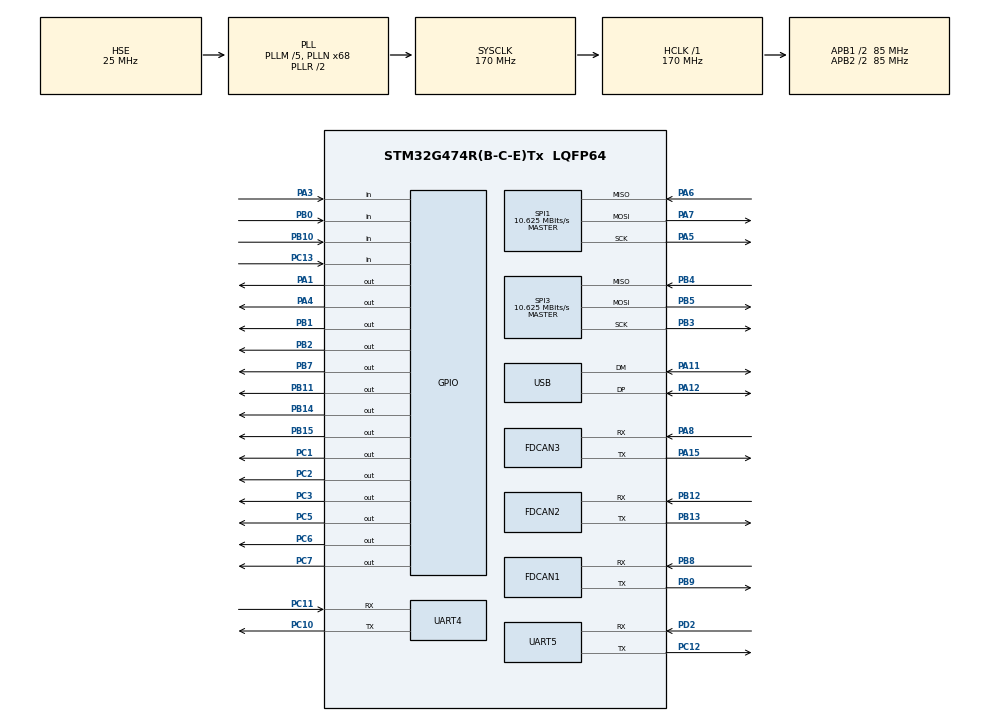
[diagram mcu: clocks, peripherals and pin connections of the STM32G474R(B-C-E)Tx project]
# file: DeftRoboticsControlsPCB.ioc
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FDCAN1.CalculateBaudRateNominal=999999
FDCAN1.CalculateTimeBitNominal=1000
FDCAN1.CalculateTimeQuantumNominal=58.82352941176471
FDCAN1.NominalPrescaler=5
FDCAN1.NominalTimeSeg1=14
FDCAN1.NominalTimeSeg2=2
FDCAN2.CalculateBaudRateNominal=999999
FDCAN2.CalculateTimeBitNominal=1000
FDCAN2.CalculateTimeQuantumNominal=58.82352941176471
FDCAN2.NominalPrescaler=5
FDCAN2.NominalTimeSeg1=14
FDCAN2.NominalTimeSeg2=2
FDCAN3.CalculateBaudRateNominal=999999
FDCAN3.CalculateTimeBitNominal=1000
FDCAN3.CalculateTimeQuantumNominal=58.82352941176471
FDCAN3.NominalPrescaler=5
FDCAN3.NominalTimeSeg1=14
FDCAN3.NominalTimeSeg2=2
FREERTOS.Tasks01=defaultTask,32,1024,StartDefaultTask,Default,NULL,Dynamic,NULL,NULL
FREERTOS.Tasks02=PlantTask,32,1024,PlantTask,Default,NULL,Dynamic,NULL,NULL
FREERTOS.Tasks03=PeripheralTask,32,2048,PeripheralTask,Default,NULL,Dynamic,NULL,NULL
FREERTOS.configTOTAL_HEAP_SIZE=49152
FREERTOS.configUSE_NEWLIB_REENTRANT=0
Mcu.Family=STM32G4
Mcu.Name=STM32G474R(B-C-E)Tx
Mcu.Package=LQFP64
NVIC.PriorityGroup=NVIC_PRIORITYGROUP_4
NVIC.TIM6_DAC_IRQn=true\:6\:0\:false\:false\:true\:true\:true\:true\:true
NVIC.TIM7_DAC_IRQn=true\:15\:0\:false\:false\:true\:false\:false\:true\:true
NVIC.TimeBase=TIM7_DAC_IRQn
NVIC.TimeBaseIP=TIM7
NVIC.SPI3_IRQn=true\:6\:0\:false\:false\:true\:true\:true\:true\:true
NVIC.UART4_IRQn=true\:6\:0\:false\:false\:true\:true\:true\:true\:true
NVIC.USB_LP_IRQn=true\:0\:0\:false\:false\:true\:true\:false\:true\:true
PA1.Signal=GPIO_Output
PA11.Mode=Device
PA11.Signal=USB_DM
PA12.Mode=Device
PA12.Signal=USB_DP
PA13.Mode=Serial_Wire
PA13.Signal=SYS_JTMS-SWDIO
PA14.Mode=Serial_Wire
PA14.Signal=SYS_JTCK-SWCLK
PA15.Mode=FDCAN_Activate
PA15.Signal=FDCAN3_TX
PA3.Signal=GPIO_Input
PA4.Signal=GPIO_Output
PA5.Mode=Full_Duplex_Master
PA5.Signal=SPI1_SCK
PA6.Mode=Full_Duplex_Master
PA6.Signal=SPI1_MISO
PA7.Mode=Full_Duplex_Master
PA7.Signal=SPI1_MOSI
PA8.Mode=FDCAN_Activate
PA8.Signal=FDCAN3_RX
PB0.Signal=GPIO_Input
PB1.Signal=GPIO_Output
PB10.Signal=GPIO_Input
PB11.Signal=GPIO_Output
PB12.Mode=FDCAN_Activate
PB12.Signal=FDCAN2_RX
PB13.Mode=FDCAN_Activate
PB13.Signal=FDCAN2_TX
PB14.Signal=GPIO_Output
PB15.Signal=GPIO_Output
PB2.Signal=GPIO_Output
PB3.Mode=Full_Duplex_Master
PB3.Signal=SPI3_SCK
PB4.Mode=Full_Duplex_Master
PB4.Signal=SPI3_MISO
PB5.Mode=Full_Duplex_Master
PB5.Signal=SPI3_MOSI
PB7.Signal=GPIO_Output
PB8-BOOT0.Mode=FDCAN_Activate
PB8-BOOT0.Signal=FDCAN1_RX
PB9.Mode=FDCAN_Activate
PB9.Signal=FDCAN1_TX
PC1.Signal=GPIO_Output
PC10.Mode=Asynchronous
PC10.Signal=UART4_TX
PC11.Mode=Asynchronous
PC11.Signal=UART4_RX
PC12.Mode=Asynchronous
PC12.Signal=UART5_TX
PC13.Signal=GPIO_Input
PC2.Signal=GPIO_Output
PC3.Signal=GPIO_Output
PC5.Signal=GPIO_Output
PC6.Signal=GPIO_Output
PC7.Signal=GPIO_Output
PD2.Mode=Asynchronous
PD2.Signal=UART5_RX
PF0-OSC_IN.Mode=HSE-External-Oscillator
PF0-OSC_IN.Signal=RCC_OSC_IN
PF1-OSC_OUT.Mode=HSE-External-Oscillator
PF1-OSC_OUT.Signal=RCC_OSC_OUT
ProjectManager.HeapSize=0x200
ProjectManager.StackSize=0x1000
ProjectManager.TargetToolchain=STM32CubeIDE
RCC.ADC12Freq_Value=170000000
RCC.ADC345Freq_Value=170000000
RCC.AHBFreq_Value=170000000
RCC.APB1CLKDivider=RCC_HCLK_DIV2
RCC.APB1Freq_Value=85000000
RCC.APB1TimFreq_Value=170000000
RCC.APB2CLKDivider=RCC_HCLK_DIV2
RCC.APB2Freq_Value=85000000
RCC.APB2TimFreq_Value=170000000
RCC.CK48CLockSelection=RCC_USBCLKSOURCE_HSI48
RCC.CortexFreq_Value=170000000
RCC.EXTERNAL_CLOCK_VALUE=12288000
RCC.HCLKFreq_Value=170000000
RCC.HSE_VALUE=25000000
RCC.HSI48_VALUE=48000000
RCC.HSI_VALUE=16000000
RCC.LSE_VALUE=32768
RCC.PLLM=RCC_PLLM_DIV5
RCC.PLLN=68
RCC.PLLQ=RCC_PLLQ_DIV4
RCC.PLLSourceVirtual=RCC_PLLSOURCE_HSE
RCC.SYSCLKFreq_VALUE=170000000
RCC.SYSCLKSource=RCC_SYSCLKSOURCE_PLLCLK
RCC.USBFreq_Value=48000000
RCC.VCOOutputFreq_Value=340000000
SPI1.BaudRatePrescaler=SPI_BAUDRATEPRESCALER_8
SPI1.CalculateBaudRate=10.625 MBits/s
SPI1.DataSize=SPI_DATASIZE_8BIT
SPI1.Direction=SPI_DIRECTION_2LINES
SPI1.Mode=SPI_MODE_MASTER
SPI1.VirtualType=VM_MASTER
SPI3.BaudRatePrescaler=SPI_BAUDRATEPRESCALER_8
SPI3.CalculateBaudRate=10.625 MBits/s
SPI3.DataSize=SPI_DATASIZE_8BIT
SPI3.Direction=SPI_DIRECTION_2LINES
SPI3.Mode=SPI_MODE_MASTER
SPI3.VirtualType=VM_MASTER
TIM6.PeriodNoDither=1999
TIM6.Prescaler=169
USB_DEVICE.CLASS_NAME_FS=CDC
USB_DEVICE.VirtualMode=Cdc
USB_DEVICE.VirtualModeFS=Cdc_FS
VP_FREERTOS_VS_CMSIS_V2.Mode=CMSIS_V2
VP_SYS_VS_DBSignals.Mode=DisableDeadBatterySignals
VP_SYS_VS_tim7.Mode=TIM7
VP_TIM6_VS_ClockSourceINT.Mode=Enable_Timer
VP_USB_DEVICE_VS_USB_DEVICE_CDC_FS.Mode=CDC_FS
board=custom

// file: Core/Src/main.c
/* USER CODE BEGIN Header */
/**
  ******************************************************************************
  * @file           : main.c
  * @brief          : Main program body
  ******************************************************************************
  * @attention
  *
  * Copyright (c) 2026 STMicroelectronics.
  * All rights reserved.
  *
  * This software is licensed under terms that can be found in the LICENSE file
  * in the root directory of this software component.
  * If no LICENSE file comes with this software, it is provided AS-IS.
  *
  ******************************************************************************
  */
/* USER CODE END Header */
#include "main.h"
#include "cmsis_os.h"
#include "fdcan.h"
#include "spi.h"
#include "tim.h"
#include "usart.h"
#include "usb_device.h"
#include "gpio.h"

/* USER CODE BEGIN Includes */
#include "app.h"
#include "plant/control_loop.h"
#include "usb_device.h"
#include "host/soft_dfu.h"
/* USER CODE END Includes */

/* USER CODE BEGIN PD */
#define CPU_ACTIVITY_PORT            GPIOC
#define CPU_ACTIVITY_PIN             GPIO_PIN_2
#define CPU_ACTIVITY_DELAY_LOOPS     4000000u   /* Error_Handler blink period */
/* Bring-up milestone on PC1 (unused LED): HIGH = past USB init, LOW = past app_init. */
#define BRINGUP_DIAG_PORT            GPIOC
#define BRINGUP_DIAG_PIN             GPIO_PIN_1
/* USER CODE END PD */

void SystemClock_Config(void);
void MX_FREERTOS_Init(void);
/* USER CODE BEGIN PFP */
static void cpu_activity_delay(uint32_t loops);
/* USER CODE END PFP */

/* USER CODE BEGIN 0 */

static void cpu_activity_delay(uint32_t loops)
{
	for (volatile uint32_t d = 0; d < loops; d++) {
	}
}

/* USER CODE END 0 */

int main(void)
{

  /* USER CODE BEGIN 1 */

  /* Checks a RAM signature left by a prior soft_dfu_on_command() call and,
   * if present, jumps into the ROM bootloader instead of continuing boot.
   * Must run before HAL_Init()/SystemClock_Config() -- see soft_dfu.h. */
  soft_dfu_check_and_jump();

  /* AN3156: ROM DFU Leave jumps into the app without a system reset, so the
   * USB FS core / IRQs can still be live from the bootloader. Tear that down
   * before HAL/USB re-init or CDC may never re-enumerate. */
  __HAL_RCC_USB_CLK_ENABLE();
  __HAL_RCC_USB_FORCE_RESET();
  __HAL_RCC_USB_RELEASE_RESET();
  NVIC_DisableIRQ(USB_HP_IRQn);
  NVIC_DisableIRQ(USB_LP_IRQn);
  NVIC_DisableIRQ(USBWakeUp_IRQn);
  NVIC_ClearPendingIRQ(USB_HP_IRQn);
  NVIC_ClearPendingIRQ(USB_LP_IRQn);
  NVIC_ClearPendingIRQ(USBWakeUp_IRQn);

  /* USER CODE END 1 */

  /* MCU Configuration--------------------------------------------------------*/

  /* Reset of all peripherals, Initializes the Flash interface and the Systick. */
  HAL_Init();

  /* Configure the system clock */
  SystemClock_Config();

  /* Initialize all configured peripherals */
  MX_GPIO_Init();
  MX_FDCAN1_Init();
  MX_FDCAN2_Init();
  MX_FDCAN3_Init();
  MX_SPI1_Init();
  MX_UART4_Init();
  MX_UART5_Init();
  MX_SPI3_Init();
  MX_TIM6_Init();
  /* USER CODE BEGIN 2 */
  /* USB before scheduler — Cube puts MX_USB in defaultTask; that raced
   * Host vs Plant at the same priority and left CDC up but diag dead. */
  MX_USB_Device_Init();
  app_init();
  control_loop_start();
  /* USER CODE END 2 */

  /* Init scheduler */
  osKernelInitialize();  /* Call init function for freertos objects (in cmsis_os2.c) */
  MX_FREERTOS_Init();

  /* Start scheduler */
  osKernelStart();

  /* We should never get here as control is now taken by the scheduler */

  /* Infinite loop */
  while (1)
  {

    /* USER CODE BEGIN 3 */
    app_run();
  }
  /* USER CODE END 3 */
}

void SystemClock_Config(void)
{
  RCC_OscInitTypeDef RCC_OscInitStruct = {0};
  RCC_ClkInitTypeDef RCC_ClkInitStruct = {0};

  /** Configure the main internal regulator output voltage
  */
  HAL_PWREx_ControlVoltageScaling(PWR_REGULATOR_VOLTAGE_SCALE1_BOOST);

  /** Initializes the RCC Oscillators according to the specified parameters
  * in the RCC_OscInitTypeDef structure.
  */
  RCC_OscInitStruct.OscillatorType = RCC_OSCILLATORTYPE_HSI48|RCC_OSCILLATORTYPE_HSE;
  RCC_OscInitStruct.HSEState = RCC_HSE_ON;
  RCC_OscInitStruct.HSI48State = RCC_HSI48_ON;
  RCC_OscInitStruct.PLL.PLLState = RCC_PLL_ON;
  RCC_OscInitStruct.PLL.PLLSource = RCC_PLLSOURCE_HSE;
  RCC_OscInitStruct.PLL.PLLM = RCC_PLLM_DIV5;
  RCC_OscInitStruct.PLL.PLLN = 68;
  RCC_OscInitStruct.PLL.PLLP = RCC_PLLP_DIV2;
  RCC_OscInitStruct.PLL.PLLQ = RCC_PLLQ_DIV4;
  RCC_OscInitStruct.PLL.PLLR = RCC_PLLR_DIV2;
  if (HAL_RCC_OscConfig(&RCC_OscInitStruct) != HAL_OK)
  {
    Error_Handler();
  }

  /** Initializes the CPU, AHB and APB buses clocks
  */
  RCC_ClkInitStruct.ClockType = RCC_CLOCKTYPE_HCLK|RCC_CLOCKTYPE_SYSCLK
                              |RCC_CLOCKTYPE_PCLK1|RCC_CLOCKTYPE_PCLK2;
  RCC_ClkInitStruct.SYSCLKSource = RCC_SYSCLKSOURCE_PLLCLK;
  RCC_ClkInitStruct.AHBCLKDivider = RCC_SYSCLK_DIV1;
  RCC_ClkInitStruct.APB1CLKDivider = RCC_HCLK_DIV2;
  RCC_ClkInitStruct.APB2CLKDivider = RCC_HCLK_DIV2;

  if (HAL_RCC_ClockConfig(&RCC_ClkInitStruct, FLASH_LATENCY_4) != HAL_OK)
  {
    Error_Handler();
  }
}

void HAL_TIM_PeriodElapsedCallback(TIM_HandleTypeDef *htim)
{
  /* USER CODE BEGIN Callback 0 */
  if (htim->Instance == TIM6)
    control_loop_tick();
  /* USER CODE END Callback 0 */
  if (htim->Instance == TIM7)
  {
    HAL_IncTick();
  }
}

void Error_Handler(void)
{
  /* USER CODE BEGIN Error_Handler_Debug */
  __disable_irq();
  while (1)
  {
    HAL_GPIO_TogglePin(GPIOC, GPIO_PIN_2);
    HAL_GPIO_TogglePin(GPIOC, GPIO_PIN_3);
    cpu_activity_delay(CPU_ACTIVITY_DELAY_LOOPS);
  }
  /* USER CODE END Error_Handler_Debug */
}

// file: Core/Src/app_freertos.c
/* USER CODE BEGIN Header */
/**
  ******************************************************************************
  * File Name          : app_freertos.c
  * Description        : Code for freertos applications (CMSIS-RTOS v2)
  ******************************************************************************
  */
/* USER CODE END Header */

#include "FreeRTOS.h"
#include "task.h"
#include "main.h"
#include "cmsis_os.h"

#include "usb_device.h"

/* USER CODE BEGIN Includes */
#include "app.h"
#include "plant/control_loop.h"
/* USER CODE END Includes */

/* Definitions for defaultTask (Host) */
osThreadId_t defaultTaskHandle;
const osThreadAttr_t defaultTask_attributes = {
  .name = "defaultTask",
  /* Same band as Plant: time-slice keeps USB RX/ack alive under plant load. */
  .priority = (osPriority_t) osPriorityAboveNormal,
  .stack_size = 1024 * 4
};
/* Definitions for PlantTask */
osThreadId_t plantTaskHandle;
const osThreadAttr_t plantTask_attributes = {
  .name = "PlantTask",
  .priority = (osPriority_t) osPriorityAboveNormal,
  .stack_size = 1024 * 4
};
/* Definitions for PeripheralTask */
osThreadId_t peripheralTaskHandle;
const osThreadAttr_t peripheralTask_attributes = {
  .name = "PeripheralTask",
  /* Same band as Host/Plant: BelowNormal starved under ×25 plant load so
   * DXL/LED never ran. dxl_port_bus_lock() covers polled UART critical.
   * Plant-only High killed act_lap peaks but starved Host lag @200/500 and
   * ballooned periph_lap — keep same-band; act_lap excludes SuspendAll. */
  .priority = (osPriority_t) osPriorityAboveNormal,
  /* DXL/LED paths are deep; 1024–1536 words overflowed into Error_Handler. */
  .stack_size = 2048 * 4
};

void StartDefaultTask(void *argument);
void PlantTask(void *argument);
void PeripheralTask(void *argument);

void MX_FREERTOS_Init(void); /* (MISRA C 2004 rule 8.1) */

void MX_FREERTOS_Init(void) {

  /* Create the thread(s) */
  /* creation of defaultTask */
  defaultTaskHandle = osThreadNew(StartDefaultTask, NULL, &defaultTask_attributes);

  /* USER CODE BEGIN RTOS_THREADS */
  if (defaultTaskHandle == NULL)
    Error_Handler();

  plantTaskHandle = osThreadNew(PlantTask, NULL, &plantTask_attributes);
  if (plantTaskHandle == NULL)
    Error_Handler();

  peripheralTaskHandle = osThreadNew(PeripheralTask, NULL, &peripheralTask_attributes);
  if (peripheralTaskHandle == NULL)
    Error_Handler();
  /* USER CODE END RTOS_THREADS */

}

/* USER CODE BEGIN Header_StartDefaultTask */
/**
  * @brief  Function implementing the defaultTask thread (Host).
  * @param  argument: Not used
  * @retval None
  */
/* USER CODE END Header_StartDefaultTask */
void StartDefaultTask(void *argument)
{
  /* USER CODE BEGIN StartDefaultTask */
  (void)argument;
  /* MX_USB_Device_Init() runs in main() before osKernelStart. */

  for (;;) {
    app_host_service();
    osDelay(1);
  }
  /* USER CODE END StartDefaultTask */
}

/* USER CODE BEGIN Application */

void PlantTask(void *argument)
{
  (void)argument;

  /* Register after scheduler is running — avoid FromISR between
   * MX_FREERTOS_Init and osKernelStart. */
  control_loop_set_plant_task(xTaskGetCurrentTaskHandle());

  /* Wake on TIM6 notify — no osDelay so Plant can preempt Peripheral. */
  for (;;) {
    (void)ulTaskNotifyTake(pdTRUE, portMAX_DELAY);
    app_plant_service();
  }
}

void PeripheralTask(void *argument)
{
  (void)argument;

  for (;;) {
    app_peripheral_service();
    osDelay(1);
  }
}

void vApplicationStackOverflowHook(TaskHandle_t xTask, char *pcTaskName)
{
  (void)xTask;
  (void)pcTaskName;
  Error_Handler();
}

void vApplicationMallocFailedHook(void)
{
  Error_Handler();
}

/* USER CODE END Application */
